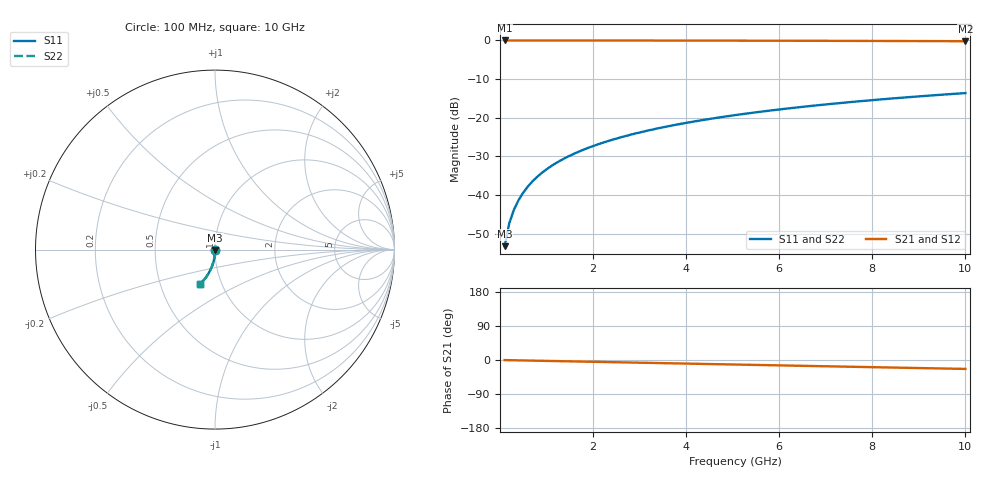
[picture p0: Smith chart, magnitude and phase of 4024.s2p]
# Hz S RI R 50.00
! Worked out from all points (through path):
!   100 points, 100 MHz to 10 GHz, reference 50 ohm
!   highest |S21| = 0.00 dB at 100 MHz (marker M1); lowest = -0.2 dB at 10 GHz (marker M2)
!   group delay of S21, straight-line fit = 6.55 ps
!   lowest |S11| = -53.2 dB at 100 MHz (marker M3), VSWR 1.00, Z = 50 - j0.216 ohm
!   |S11| at or under -10 dB: start of sweep to end of sweep
!   |S22| runs from -53.2 to -13.6 dB; largest |S21 - S12| = 0
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1e8  0.000363 -0.00215  0.9996 -0.00413  0.9996 -0.00413  0.000363 -0.00215
2e8  0.000336 -0.00431  0.9996 -0.00826  0.9996 -0.00826  0.000336 -0.00431
3e8  0.00029 -0.00646  0.9995 -0.0124  0.9995 -0.0124  0.00029 -0.00646
4e8  0.000226 -0.00862  0.9994 -0.0165  0.9994 -0.0165  0.000226 -0.00862
5e8  0.000144 -0.0108  0.9993 -0.0206  0.9993 -0.0206  0.000144 -0.0108
6e8  4.47e-05 -0.0129  0.9992 -0.0248  0.9992 -0.0248  4.47e-05 -0.0129
7e8  -7.28e-05 -0.0151  0.9991 -0.0289  0.9991 -0.0289  -7.28e-05 -0.0151
8e8  -0.000208 -0.0172  0.9989 -0.033  0.9989 -0.033  -0.000208 -0.0172
9e8  -0.000362 -0.0194  0.9987 -0.0371  0.9987 -0.0371  -0.000362 -0.0194
1.1e9  -0.000722 -0.0237  0.9983 -0.0454  0.9983 -0.0454  -0.000722 -0.0237
1.4e9  -0.0014 -0.0301  0.9974 -0.0578  0.9974 -0.0578  -0.0014 -0.0301
1.8e9  -0.00254 -0.0387  0.996 -0.0742  0.996 -0.0742  -0.00254 -0.0387
2.1e9  -0.00359 -0.0451  0.9948 -0.0865  0.9948 -0.0865  -0.00359 -0.0451
2.5e9  -0.00523 -0.0535  0.9928 -0.1029  0.9928 -0.1029  -0.00523 -0.0535
2.9e9  -0.00715 -0.062  0.9904 -0.1193  0.9904 -0.1193  -0.00715 -0.062
3.4e9  -0.00994 -0.0724  0.987 -0.1396  0.987 -0.1396  -0.00994 -0.0724
4.2e9  -0.0153 -0.0888  0.9804 -0.1719  0.9804 -0.1719  -0.0153 -0.0888
5.1e9  -0.0226 -0.1068  0.9715 -0.2078  0.9715 -0.2078  -0.0226 -0.1068
5.9e9  -0.0301 -0.1223  0.9621 -0.2392  0.9621 -0.2392  -0.0301 -0.1223
6.7e9  -0.0387 -0.1372  0.9516 -0.2701  0.9516 -0.2701  -0.0387 -0.1372
8.4e9  -0.0599 -0.1666  0.9252 -0.3337  0.9252 -0.3337  -0.0599 -0.1666
1e10  -0.0832 -0.1912  0.8958 -0.3906  0.8958 -0.3906  -0.0832 -0.1912
